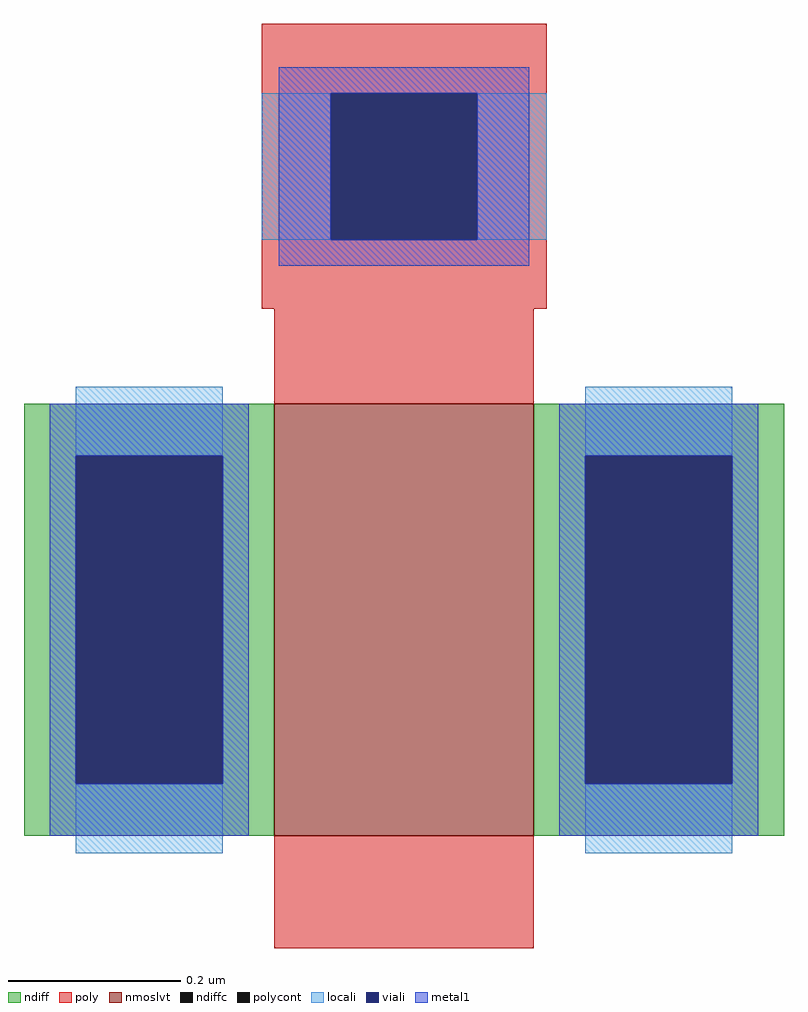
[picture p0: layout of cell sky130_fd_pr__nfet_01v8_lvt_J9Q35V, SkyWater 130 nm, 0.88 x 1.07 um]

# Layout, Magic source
magic
tech sky130A
magscale 1 2
<< nmoslvt >>
rect -30 -81 30 19
<< ndiff >>
rect -88 7 -30 19
rect -88 -69 -76 7
rect -42 -69 -30 7
rect -88 -81 -30 -69
rect 30 7 88 19
rect 30 -69 42 7
rect 76 -69 88 7
rect 30 -81 88 -69
<< ndiffc >>
rect -76 -69 -42 7
rect 42 -69 76 7
<< poly >>
rect -33 91 33 107
rect -33 57 -17 91
rect 17 57 33 91
rect -33 41 33 57
rect -30 19 30 41
rect -30 -107 30 -81
<< polycont >>
rect -17 57 17 91
<< locali >>
rect -33 57 -17 91
rect 17 57 33 91
rect -76 7 -42 23
rect -76 -85 -42 -69
rect 42 7 76 23
rect 42 -85 76 -69
<< viali >>
rect -17 57 17 91
rect -76 -69 -42 7
rect 42 -69 76 7
<< metal1 >>
rect -29 91 29 97
rect -29 57 -17 91
rect 17 57 29 91
rect -29 51 29 57
rect -82 7 -36 19
rect -82 -69 -76 7
rect -42 -69 -36 7
rect -82 -81 -36 -69
rect 36 7 82 19
rect 36 -69 42 7
rect 76 -69 82 7
rect 36 -81 82 -69
<< properties >>
string gencell sky130_fd_pr__nfet_01v8_lvt
string library sky130
string parameters w 0.5 l 0.3 m 1 nf 1 diffcov 100 polycov 100 guard 0 glc 0 grc 1 gtc 1 gbc 1 tbcov 100 rlcov 100 topc 1 botc 0 poverlap 0 doverlap 0 lmin 0.15 wmin 0.42 compatible {sky130_fd_pr__nfet_01v8 sky130_fd_pr__nfet_01v8_lvt  sky130_fd_bs_flash__special_sonosfet_star  sky130_fd_pr__nfet_g5v0d10v5 sky130_fd_pr__nfet_05v0_nvt  sky130_fd_pr__nfet_03v3_nvt} full_metal 0 viasrc 100 viadrn 100 viagate 100 viagb 0 viagr 0 viagl 0 viagt 0
<< end >>
